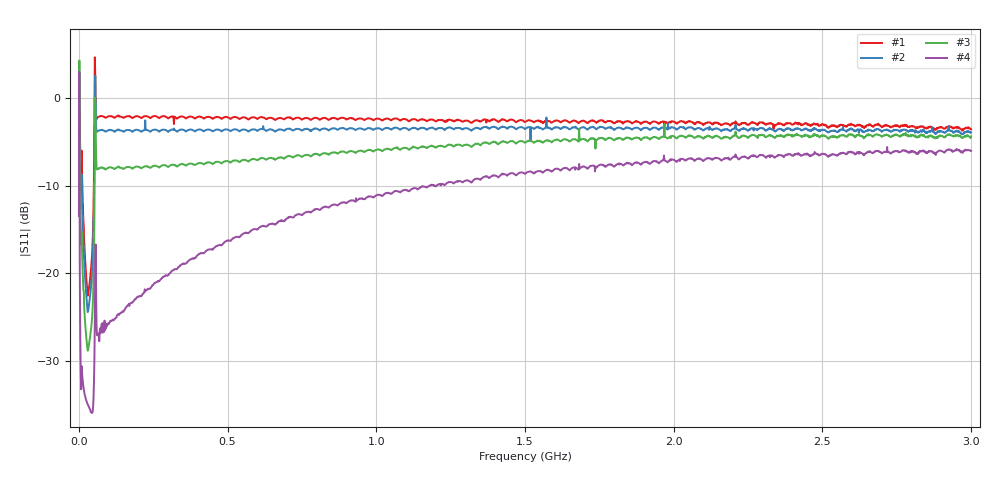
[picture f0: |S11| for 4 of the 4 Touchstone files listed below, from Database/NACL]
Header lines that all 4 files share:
# HZ S RI R 50
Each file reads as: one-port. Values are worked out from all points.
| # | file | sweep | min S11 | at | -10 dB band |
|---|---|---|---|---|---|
| 1 | 0.5%.s1p | 1.496 MHz to 3 GHz | -22.6 dB | 29.73 MHz | 38.66 MHz wide |
| 2 | 1%.s1p | 10 kHz to 3 GHz | -24.4 dB | 29.73 MHz | 41.36 MHz wide |
| 3 | 2%.s1p | 10 kHz to 3 GHz | -28.8 dB | 29.73 MHz | 48.6 MHz wide |
| 4 | 5%.s1p | 10 kHz to 3 GHz | -35.9 dB | 44.59 MHz | 1.176 GHz wide |
